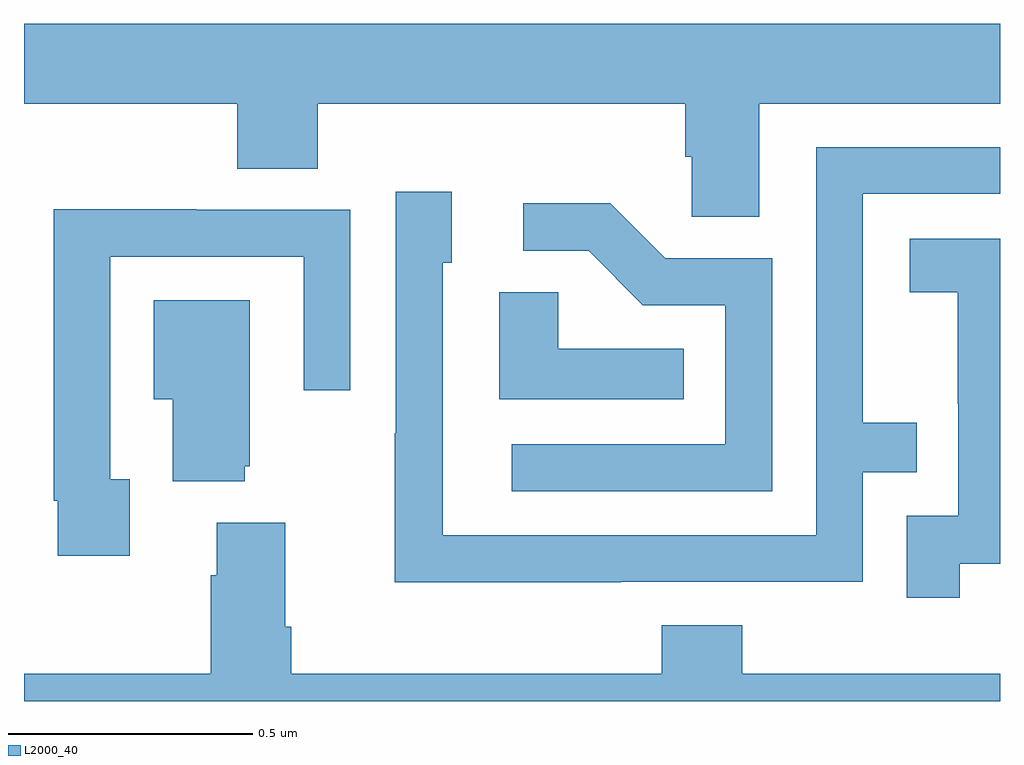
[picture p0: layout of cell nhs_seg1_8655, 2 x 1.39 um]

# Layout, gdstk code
import gdstk
lib = gdstk.Library(unit=1e-6, precision=1e-09)
def P(c, l, *ps):  # polygons
    for p in ps: c.add(gdstk.Polygon(p, *l))
L2000_40 = (2000, 40)

nhs_seg1_8655 = lib.new_cell('nhs_seg1_8655')
P(nhs_seg1_8655, L2000_40, [(220.507,526.424),(221,526.424),(221,526.588),(219,526.588),(219,526.424),(219.437,526.424),(219.437,526.291),(219.602,526.291),(219.602,526.424),(220.355,526.424),(220.355,526.315),(220.368,526.315),(220.368,526.192),(220.507,526.192)],
  [(220.223,525.444),(220.719,525.444),(220.719,525.669),(220.829,525.669),(220.829,525.77),(220.719,525.77),(220.719,526.239),(221,526.239),(221,526.335),(220.623,526.335),(220.623,525.54),(219.858,525.54),(219.858,526.098),(219.877,526.098),(219.877,526.243),(219.762,526.243),(219.762,525.749),(219.76,525.749),(219.76,525.443),(220.223,525.443)],
  [(220.533,526.107),(220.314,526.107),(220.201,526.22),(220.023,526.22),(220.023,526.122),(220.157,526.122),(220.268,526.011),(220.437,526.011),(220.437,525.726),(219.999,525.726),(219.999,525.63),(220.533,525.63)],
  [(219.217,525.654),(219.177,525.654),(219.177,526.11),(219.573,526.11),(219.573,525.837),(219.669,525.837),(219.669,526.206),(219.353,526.206),(219.353,526.208),(219.061,526.208),(219.061,525.61),(219.069,525.61),(219.069,525.498),(219.217,525.498)],
  [(220.918,525.481),(221,525.481),(221,526.147),(220.815,526.147),(220.815,526.037),(220.913,526.037),(220.913,525.809),(220.914,525.809),(220.914,525.579),(220.809,525.579),(220.809,525.411),(220.918,525.411)],
  [(220.352,525.922),(220.095,525.922),(220.095,526.037),(219.974,526.037),(219.974,525.818),(220.352,525.818)],
  [(219.452,525.681),(219.463,525.681),(219.463,526.021),(219.266,526.021),(219.266,525.818),(219.305,525.818),(219.305,525.65),(219.452,525.65)],
  [(220.472,525.355),(220.307,525.355),(220.307,525.256),(219.548,525.256),(219.548,525.352),(219.535,525.352),(219.535,525.565),(219.395,525.565),(219.395,525.458),(219.383,525.458),(219.383,525.256),(219,525.256),(219,525.199),(221,525.199),(221,525.256),(220.472,525.256)])

lib.write_gds('nhs_seg1_8655.gds')
